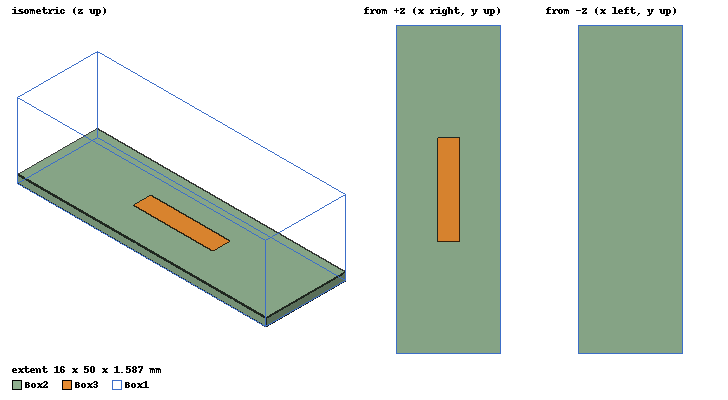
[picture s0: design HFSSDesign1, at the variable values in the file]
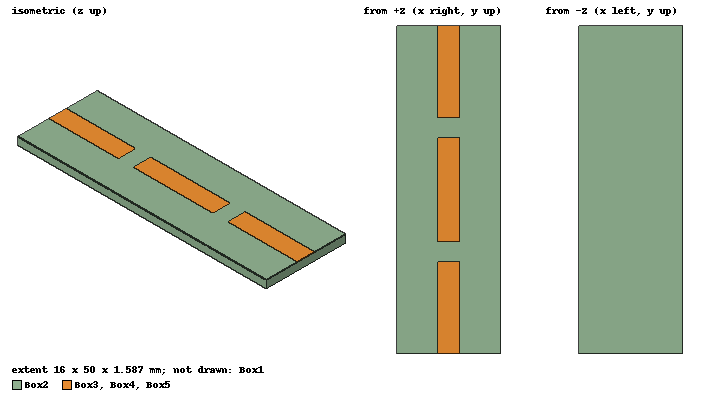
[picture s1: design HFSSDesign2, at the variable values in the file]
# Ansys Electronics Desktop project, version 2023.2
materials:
  vacuum: permittivity=1
  Rogers RO4003 (tm): permittivity=3.55 dielectric_loss_tangent=0.0027
  copper: permeability=0.999991 conductivity=58000000
  Fake-Rogers RO4003 (tm): permittivity=3.55
  pec: conductivity=1e+30

design HFSSDesign1 (HFSS, Eigenmode, model units mm)
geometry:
  Box1 [vacuum] = box(corner=(0mm, 0mm, 0mm), size=(16mm, 50mm, 15mm))
  Box2 [Rogers RO4003 (tm)] = box(corner=(0mm, 0mm, 0mm), size=(16mm, 50mm, 1.57mm))
  Box3 [copper] = box(corner=(6.25mm, 17mm, 1.57mm), size=(3.5mm, 16mm, 17um))
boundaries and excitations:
  PerfE1: Perfect E Objects=Box1
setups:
  Setup1: HfssEigen MinimumFrequency=1GHz NumModes=5 MaxDeltaFreq=2 ConvergeOnRealFreq=false MaximumPasses=25 MinimumPasses=18 MinimumConvergedPasses=1 PercentRefinement=30 BasisOrder=1
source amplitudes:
  #-10:1: 1 0deg
  #-10:2..#-10:5: 0 0deg

design HFSSDesign2 (HFSS, HFSS Modal Network, model units mm)
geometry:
  Box1 [vacuum] = box(corner=(0mm, 0mm, 0mm), size=(16mm, 50mm, 15mm))
  Box2 [Fake-Rogers RO4003 (tm)] = box(corner=(0mm, 0mm, 0mm), size=(16mm, 50mm, 1.57mm))
  Box3 [copper] = box(corner=(6.25mm, 17mm, 1.57mm), size=(3.5mm, 16mm, 17um))
  Box4 [copper] = box(corner=(6.25mm, 0mm, 1.57mm), size=(3.5mm, 14mm, 17um))
  Box5 [copper] = box(corner=(6.25mm, 50mm, 1.57mm), size=(3.5mm, -14mm, 17um))
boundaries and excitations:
  Rad1: Radiation Faces=Box1.face(+z)
  PerfE1: Perfect E Objects=[Box5, Box3, Box4]
  Rad2: Radiation Faces=Box1.face(+z)
  1: Wave Port Faces=Box1.face(+y) WavePortType=Modal NumModes=1 Modes{Mode1{CharImp=Zpi}}
  2: Wave Port Faces=Box1.face(-y) WavePortType=Modal NumModes=1 Modes{Mode1{CharImp=Zpi}}
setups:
  Setup1: HfssDriven Frequency=5GHz MaxDeltaS=0.005 MaximumPasses=12 MinimumPasses=6 MinimumConvergedPasses=1 PercentRefinement=30 BasisOrder=1 PortAccuracy=2 DrivenSolverType="Direct Solver"
    sweep Sweep: 4GHz to 6GHz, 401 points; Type=Fast SaveFields
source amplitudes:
  1:1: 1W 0deg
  2:1: 0W 0deg
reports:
  S Parameter Plot 1: dB(S(2,1)) vs Freq on Setup1 : Sweep; markers MX1 at x=5.0851351e+09, MY1 at y=-27.28
